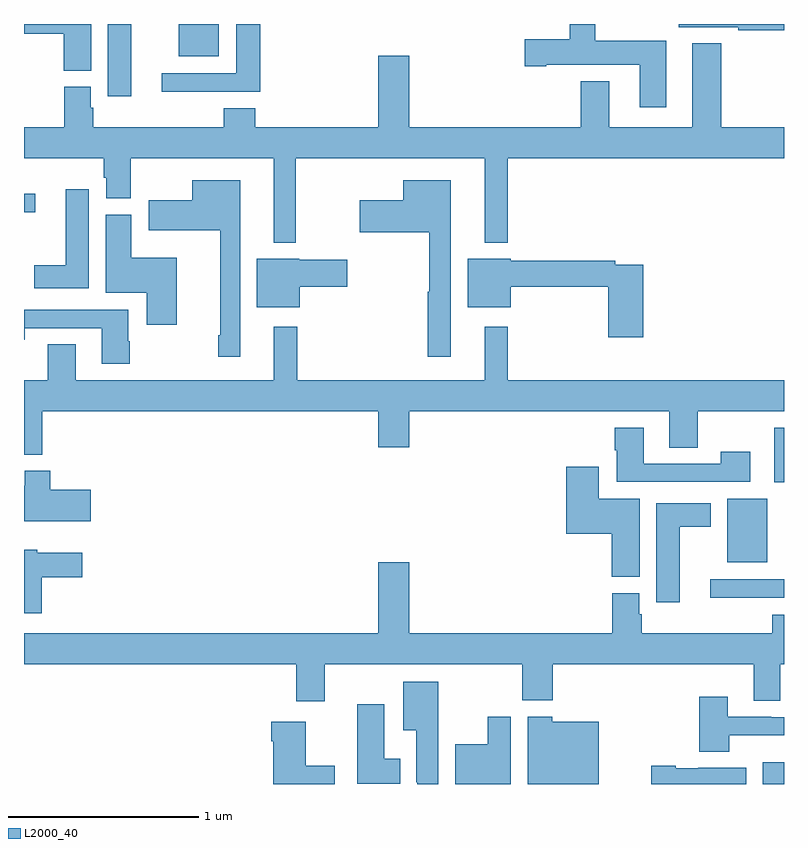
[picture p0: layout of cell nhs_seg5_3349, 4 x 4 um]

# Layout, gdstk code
import gdstk
lib = gdstk.Library(unit=1e-6, precision=1e-09)
def R(c, l, rs):  # rectangles x0, y0, x1, y1
    for r in rs: c.add(gdstk.rectangle(r[:2], r[2:], *l))
def P(c, l, *ps):  # polygons
    for p in ps: c.add(gdstk.Polygon(p, *l))
L2000_40 = (2000, 40)

nhs_seg5_3349 = lib.new_cell('nhs_seg5_3349')
R(nhs_seg5_3349, L2000_40, [(310.887,854.799,311,854.914), (310.611,855.779,311,855.876), (310.7,855.965,310.912,856.3), (310.949,856.388,311,856.675), (307,857.808,307.06,857.906), (307.442,858.42,307.564,858.799), (307.814,858.629,308.026,858.799)])
P(nhs_seg5_3349, L2000_40, [(311,858.799),(310.445,858.799),(310.445,858.782),(310.758,858.782),(310.758,858.767),(311,858.767)],
  [(308.243,858.799),(308.117,858.799),(308.117,858.54),(307.725,858.54),(307.725,858.443),(308.243,858.443)],
  [(310.381,858.712),(310.006,858.712),(310.006,858.799),(309.872,858.799),(309.872,858.719),(309.636,858.719),(309.636,858.577),(309.748,858.577),(309.748,858.584),(310.241,858.584),(310.241,858.36),(310.381,858.36)],
  [(307.354,858.799),(307,858.799),(307,858.749),(307.208,858.749),(307.208,858.553),(307.354,858.553)],
  [(308.315,857.648),(308.429,857.648),(308.429,858.092),(309.425,858.092),(309.425,857.648),(309.547,857.648),(309.547,858.092),(311,858.092),(311,858.256),(310.67,858.256),(310.67,858.697),(310.517,858.697),(310.517,858.256),(310.081,858.256),(310.081,858.499),(309.929,858.499),(309.929,858.256),(309.028,858.256),(309.028,858.631),(308.864,858.631),(308.864,858.256),(308.216,858.256),(308.216,858.355),(308.051,858.355),(308.051,858.256),(307.364,858.256),(307.364,858.357),(307.351,858.357),(307.351,858.468),(307.211,858.468),(307.211,858.256),(307,858.256),(307,858.092),(307.421,858.092),(307.421,857.991),(307.433,857.991),(307.433,857.881),(307.561,857.881),(307.561,858.092),(308.315,858.092)],
  [(309.247,857.977),(308.996,857.977),(308.996,857.872),(308.766,857.872),(308.766,857.702),(309.133,857.702),(309.133,857.39),(309.126,857.39),(309.126,857.049),(309.247,857.049)],
  [(308.137,857.977),(307.886,857.977),(307.886,857.872),(307.656,857.872),(307.656,857.714),(308.033,857.714),(308.033,857.161),(308.023,857.161),(308.023,857.049),(308.137,857.049)],
  [(307.342,857.929),(307.22,857.929),(307.22,857.53),(307.055,857.53),(307.055,857.408),(307.342,857.408)],
  [(307.804,857.569),(307.564,857.569),(307.564,857.796),(307.43,857.796),(307.43,857.384),(307.646,857.384),(307.646,857.217),(307.804,857.217)],
  [(310.259,857.532),(310.112,857.532),(310.112,857.552),(309.562,857.552),(309.562,857.563),(309.335,857.563),(309.335,857.309),(309.562,857.309),(309.562,857.416),(310.076,857.416),(310.076,857.151),(310.259,857.151)],
  [(308.452,857.416),(308.701,857.416),(308.701,857.558),(308.448,857.558),(308.448,857.563),(308.225,857.563),(308.225,857.309),(308.452,857.309)],
  [(307.557,857.129),(307.549,857.129),(307.549,857.295),(307,857.295),(307,857.136),(307.005,857.136),(307.005,857.199),(307.409,857.199),(307.409,857.01),(307.557,857.01)],
  [(307.097,856.76),(308.864,856.76),(308.864,856.572),(309.028,856.572),(309.028,856.76),(310.397,856.76),(310.397,856.57),(310.545,856.57),(310.545,856.76),(311,856.76),(311,856.924),(309.547,856.924),(309.547,857.206),(309.425,857.206),(309.425,856.924),(308.437,856.924),(308.437,857.206),(308.315,857.206),(308.315,856.924),(307.273,856.924),(307.273,857.114),(307.126,857.114),(307.126,856.924),(307,856.924),(307,856.532),(307.097,856.532)],
  [(310.822,856.549),(310.666,856.549),(310.666,856.485),(310.261,856.485),(310.261,856.675),(310.109,856.675),(310.109,856.555),(310.121,856.555),(310.121,856.389),(310.822,856.389)],
  [(310.24,856.3),(310.024,856.3),(310.024,856.468),(309.854,856.468),(309.854,856.115),(310.094,856.115),(310.094,855.889),(310.24,855.889)],
  [(307.351,856.347),(307.139,856.347),(307.139,856.447),(307.004,856.447),(307.004,856.369),(307,856.369),(307,856.181),(307.351,856.181)],
  [(310.45,856.154),(310.615,856.154),(310.615,856.276),(310.328,856.276),(310.328,855.756),(310.45,855.756)],
  [(307.094,855.886),(307.306,855.886),(307.306,856.015),(307.071,856.015),(307.071,856.033),(307,856.033),(307,855.699),(307.094,855.699)],
  [(308.584,855.428),(309.622,855.428),(309.622,855.239),(309.782,855.239),(309.782,855.428),(310.841,855.428),(310.841,855.238),(310.98,855.238),(310.98,855.428),(311,855.428),(311,855.691),(310.937,855.691),(310.937,855.592),(310.25,855.592),(310.25,855.693),(310.237,855.693),(310.237,855.804),(310.097,855.804),(310.097,855.592),(309.028,855.592),(309.028,855.967),(308.864,855.967),(308.864,855.592),(307,855.592),(307,855.428),(308.432,855.428),(308.432,855.234),(308.584,855.234)],
  [(309.181,855.337),(308.996,855.337),(308.996,855.083),(309.065,855.083),(309.065,854.809),(309.069,854.809),(309.069,854.799),(309.181,854.799)],
  [(310.713,855.056),(311,855.056),(311,855.15),(310.934,855.15),(310.934,855.153),(310.705,855.153),(310.705,855.259),(310.553,855.259),(310.553,854.969),(310.713,854.969)],
  [(308.98,854.932),(308.896,854.932),(308.896,855.22),(308.753,855.22),(308.753,854.801),(308.98,854.801)],
  [(309.562,855.154),(309.44,855.154),(309.44,855.007),(309.269,855.007),(309.269,854.799),(309.562,854.799)],
  [(310.024,855.127),(309.78,855.127),(309.78,855.154),(309.65,855.154),(309.65,854.799),(310.024,854.799)],
  [(308.635,854.895),(308.482,854.895),(308.482,855.127),(308.3,855.127),(308.3,855.023),(308.312,855.023),(308.312,854.799),(308.635,854.799)],
  [(310.802,854.884),(310.548,854.884),(310.548,854.881),(310.431,854.881),(310.431,854.894),(310.302,854.894),(310.302,854.799),(310.802,854.799)])

lib.write_gds('nhs_seg5_3349.gds')
